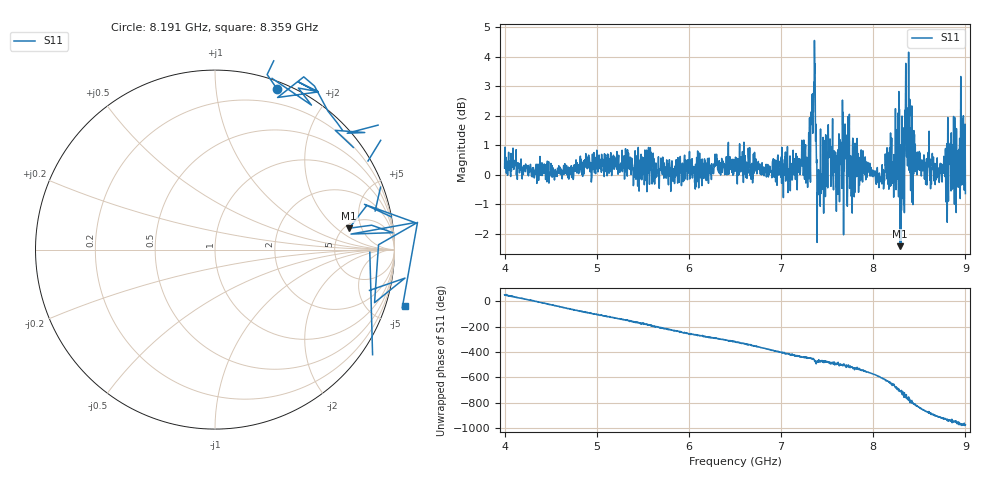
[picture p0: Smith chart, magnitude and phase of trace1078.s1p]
! Created with skrf 1.8.0 (http://scikit-rf.org).
# Hz S RI R 50.0
!freq ReS11 ImS11
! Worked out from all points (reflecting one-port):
!   1601 points, 4 GHz to 9 GHz, reference 50 ohm
!   lowest |S11| = -2.4 dB at 8.291 GHz (marker M1), VSWR 7.23, Z = 274 + j153 ohm
!   phase of S11 starts at 53 deg and turns -1029 deg over the sweep
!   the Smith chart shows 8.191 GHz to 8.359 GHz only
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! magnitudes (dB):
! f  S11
! 4 GHz  0.2
! 4.625 GHz  -0.1
! 5.25 GHz  0.1
! 5.875 GHz  0.1
! 6.5 GHz  0.1
! 7.125 GHz  0.2
! 7.294 GHz  0.3
! 7.347 GHz  2.8
! 7.362 GHz  4.6
! 7.4 GHz  -0.6
! 7.416 GHz  -0.6
! 7.534 GHz  1.0
! 7.591 GHz  0.8
! 7.65 GHz  0.7
! 7.75 GHz  -0.1
! 8.097 GHz  0.3
! 8.228 GHz  0.6
! 8.259 GHz  1.5
! 8.291 GHz  -2.4
! 8.312 GHz  2.0
! 8.334 GHz  1.6
! 8.375 GHz  1.4
! 8.412 GHz  0.5
! 8.447 GHz  1.4
! 8.697 GHz  -0.1
! 8.9 GHz  -1.3
! 8.972 GHz  1.1
! 9 GHz  -0.6
